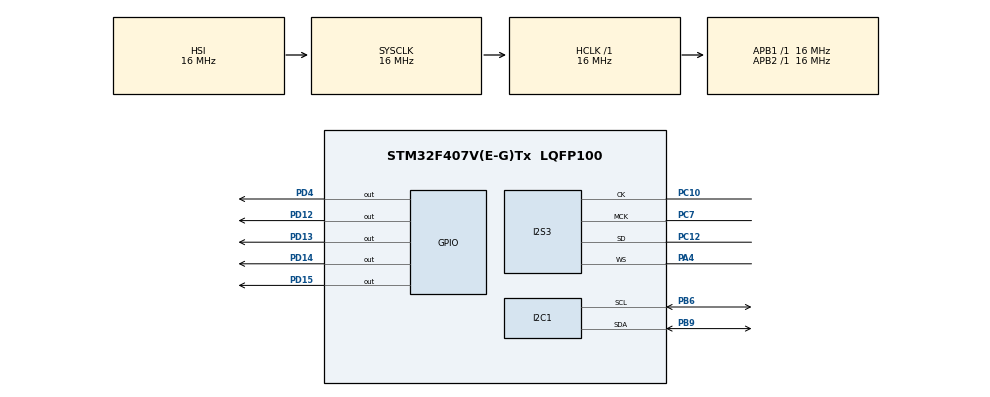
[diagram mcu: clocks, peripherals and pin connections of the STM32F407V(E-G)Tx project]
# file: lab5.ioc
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Dma.Request0=SPI3_TX
Dma.SPI3_TX.0.Direction=DMA_MEMORY_TO_PERIPH
Dma.SPI3_TX.0.FIFOMode=DMA_FIFOMODE_ENABLE
Dma.SPI3_TX.0.FIFOThreshold=DMA_FIFO_THRESHOLD_FULL
Dma.SPI3_TX.0.Instance=DMA1_Stream5
Dma.SPI3_TX.0.MemBurst=DMA_MBURST_SINGLE
Dma.SPI3_TX.0.MemDataAlignment=DMA_MDATAALIGN_HALFWORD
Dma.SPI3_TX.0.MemInc=DMA_MINC_ENABLE
Dma.SPI3_TX.0.Mode=DMA_CIRCULAR
Dma.SPI3_TX.0.PeriphBurst=DMA_PBURST_SINGLE
Dma.SPI3_TX.0.PeriphDataAlignment=DMA_PDATAALIGN_HALFWORD
Dma.SPI3_TX.0.PeriphInc=DMA_PINC_DISABLE
Dma.SPI3_TX.0.Priority=DMA_PRIORITY_LOW
I2S3.AudioFreq=I2S_AUDIOFREQ_48K
I2S3.ErrorAudioFreq=-2.34 %
I2S3.FullDuplexMode=I2S_FULLDUPLEXMODE_DISABLE
I2S3.Instance=SPI$Index
I2S3.RealAudioFreq=46.875 KHz
I2S3.VirtualMode=I2S_MODE_MASTER
Mcu.Family=STM32F4
Mcu.Name=STM32F407V(E-G)Tx
Mcu.Package=LQFP100
NVIC.DMA1_Stream5_IRQn=true\:0\:0\:false\:false\:true\:false\:true\:true
NVIC.PriorityGroup=NVIC_PRIORITYGROUP_4
PA4.Mode=Half_Duplex_Master
PA4.Signal=I2S3_WS
PB6.Mode=I2C
PB6.Signal=I2C1_SCL
PB9.Mode=I2C
PB9.Signal=I2C1_SDA
PC10.Mode=Half_Duplex_Master
PC10.Signal=I2S3_CK
PC12.Mode=Half_Duplex_Master
PC12.Signal=I2S3_SD
PC7.Mode=Master_Clock_Activated
PC7.Signal=I2S3_MCK
PD12.Signal=GPIO_Output
PD13.Signal=GPIO_Output
PD14.Signal=GPIO_Output
PD15.Signal=GPIO_Output
PD4.Signal=GPIO_Output
ProjectManager.HeapSize=0x200
ProjectManager.StackSize=0x400
ProjectManager.TargetToolchain=STM32CubeIDE
RCC.AHBFreq_Value=16000000
RCC.APB1Freq_Value=16000000
RCC.APB2Freq_Value=16000000
RCC.CortexFreq_Value=16000000
RCC.HSE_VALUE=25000000
RCC.HSI_VALUE=16000000
RCC.LSE_VALUE=32768
RCC.SYSCLKFreq_VALUE=16000000
RCC.VCOOutputFreq_Value=192000000
board=custom

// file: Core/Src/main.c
/* USER CODE BEGIN Header */
/**
  ******************************************************************************
  * @file           : main.c
  * @brief          : Main program body
  ******************************************************************************
  * @attention
  *
  * Copyright (c) 2026 STMicroelectronics.
  * All rights reserved.
  *
  * This software is licensed under terms that can be found in the LICENSE file
  * in the root directory of this software component.
  * If no LICENSE file comes with this software, it is provided AS-IS.
  *
  ******************************************************************************
  */
/* USER CODE END Header */
#include "main.h"

/* USER CODE BEGIN PTD */

typedef enum
{
    NOTE_0  = 0x00,
    NOTE_1  = 0x10,
    NOTE_2  = 0x20,
    NOTE_3  = 0x30,
    NOTE_4  = 0x40,
    NOTE_5  = 0x50,
    NOTE_6  = 0x60,
    NOTE_7  = 0x70,
    NOTE_8  = 0x80,
    NOTE_9  = 0x90,
    NOTE_10 = 0xA0,
    NOTE_11 = 0xB0,
    NOTE_12 = 0xC0,
    NOTE_13 = 0xD0,
    NOTE_14 = 0xE0,
    NOTE_15 = 0xF0,
    MAX_VALUE
} soundToneType;

/* USER CODE END PTD */

/* USER CODE BEGIN PD */

#define CS43L22_I2C_ADDRESS		0x94
#define I2C_TIMEOUT				10

/* USER CODE END PD */

/* USER CODE BEGIN PM */

int16_t dataI2S[100] = {0};

/* USER CODE END PM */

I2C_HandleTypeDef hi2c1;

I2S_HandleTypeDef hi2s3;
DMA_HandleTypeDef hdma_spi3_tx;

void SystemClock_Config(void);
static void MX_GPIO_Init(void);
static void MX_DMA_Init(void);
static void MX_I2C1_Init(void);
static void MX_I2S3_Init(void);

/* USER CODE BEGIN 0 */

void CS43L22_Init(void)
{
	// Enable chip
	HAL_GPIO_WritePin(GPIOD, GPIO_PIN_4, GPIO_PIN_SET);

	//
	// Initialization
	//
	uint8_t TxBuffer[2];

	TxBuffer[0] = 0x0D;
	TxBuffer[1] = 0x01;
	HAL_I2C_Master_Transmit(&hi2c1, CS43L22_I2C_ADDRESS, (uint8_t*) &TxBuffer, 2, I2C_TIMEOUT);

	TxBuffer[0] = 0x00;
	TxBuffer[1] = 0x99;
	HAL_I2C_Master_Transmit(&hi2c1, CS43L22_I2C_ADDRESS, (uint8_t*) &TxBuffer, 2, I2C_TIMEOUT);

	TxBuffer[0] = 0x47;
	TxBuffer[1] = 0x80;
	HAL_I2C_Master_Transmit(&hi2c1, CS43L22_I2C_ADDRESS, (uint8_t*) &TxBuffer, 2, I2C_TIMEOUT);

	TxBuffer[0] = 0x32;
	TxBuffer[1] = 0xFF;
	HAL_I2C_Master_Transmit(&hi2c1, CS43L22_I2C_ADDRESS, (uint8_t*) &TxBuffer, 2, I2C_TIMEOUT);

	TxBuffer[0] = 0x32;
	TxBuffer[1] = 0x7F;
	HAL_I2C_Master_Transmit(&hi2c1, CS43L22_I2C_ADDRESS, (uint8_t*) &TxBuffer, 2, I2C_TIMEOUT);

	TxBuffer[0] = 0x00;
	TxBuffer[1] = 0x00;
	HAL_I2C_Master_Transmit(&hi2c1, CS43L22_I2C_ADDRESS, (uint8_t*) &TxBuffer, 2, I2C_TIMEOUT);

	TxBuffer[0] = 0x04;
	TxBuffer[1] = 0xAF;
	HAL_I2C_Master_Transmit(&hi2c1, CS43L22_I2C_ADDRESS, (uint8_t*) &TxBuffer, 2, I2C_TIMEOUT);

	TxBuffer[0] = 0x0D;
	TxBuffer[1] = 0x70;
	HAL_I2C_Master_Transmit(&hi2c1, CS43L22_I2C_ADDRESS, (uint8_t*) &TxBuffer, 2, I2C_TIMEOUT);

	TxBuffer[0] = 0x05;
	TxBuffer[1] = 0x81;
	HAL_I2C_Master_Transmit(&hi2c1, CS43L22_I2C_ADDRESS, (uint8_t*) &TxBuffer, 2, I2C_TIMEOUT);

	TxBuffer[0] = 0x06;
	TxBuffer[1] = 0x07;
	HAL_I2C_Master_Transmit(&hi2c1, CS43L22_I2C_ADDRESS, (uint8_t*) &TxBuffer, 2, I2C_TIMEOUT);

	TxBuffer[0] = 0x0A;
	TxBuffer[1] = 0x00;
	HAL_I2C_Master_Transmit(&hi2c1, CS43L22_I2C_ADDRESS, (uint8_t*) &TxBuffer, 2, I2C_TIMEOUT);

	TxBuffer[0] = 0x27;
	TxBuffer[1] = 0x00;
	HAL_I2C_Master_Transmit(&hi2c1, CS43L22_I2C_ADDRESS, (uint8_t*) &TxBuffer, 2, I2C_TIMEOUT);

	TxBuffer[0] = 0x1A;
	TxBuffer[1] = 0x0A;
	HAL_I2C_Master_Transmit(&hi2c1, CS43L22_I2C_ADDRESS, (uint8_t*) &TxBuffer, 2, I2C_TIMEOUT);

	TxBuffer[0] = 0x1B;
	TxBuffer[1] = 0x0A;
	HAL_I2C_Master_Transmit(&hi2c1, CS43L22_I2C_ADDRESS, (uint8_t*) &TxBuffer, 2, I2C_TIMEOUT);

	TxBuffer[0] = 0x1F;
	TxBuffer[1] = 0x0F;
	HAL_I2C_Master_Transmit(&hi2c1, CS43L22_I2C_ADDRESS, (uint8_t*) &TxBuffer, 2, I2C_TIMEOUT);

	TxBuffer[0] = 0x02;
	TxBuffer[1] = 0x9E;
	HAL_I2C_Master_Transmit(&hi2c1, CS43L22_I2C_ADDRESS, (uint8_t*) &TxBuffer, 2, I2C_TIMEOUT);
}

void CS43L22_Beep(soundToneType pitch, uint32_t duration_ms, uint16_t led_pin)
{
    uint8_t TxBuffer[2];

    HAL_GPIO_WritePin(GPIOD, led_pin, GPIO_PIN_SET);

    // Set volume and off time
    TxBuffer[0] = 0x1D;        // Register address
    TxBuffer[1] = 0x00;        // Value (volume and off time)
    HAL_I2C_Master_Transmit(&hi2c1, CS43L22_I2C_ADDRESS, (uint8_t*) &TxBuffer, 2, I2C_TIMEOUT);

    // Set sound frequency (передаємо значення прямо з нашого enum)
    TxBuffer[0] = 0x1C;
    TxBuffer[1] = (uint8_t)pitch;
    HAL_I2C_Master_Transmit(&hi2c1, CS43L22_I2C_ADDRESS, (uint8_t*) &TxBuffer, 2, I2C_TIMEOUT);

    // Enable continuous mode (SOUND STARTED)
    TxBuffer[0] = 0x1E;
    TxBuffer[1] = 0xC0;
    HAL_I2C_Master_Transmit(&hi2c1, CS43L22_I2C_ADDRESS, (uint8_t*) &TxBuffer, 2, I2C_TIMEOUT);

    // Playing...
    HAL_Delay(duration_ms);

    // Disable continuous mode (SOUND STOPPED)
    TxBuffer[0] = 0x1E;
    TxBuffer[1] = 0x00;
    HAL_I2C_Master_Transmit(&hi2c1, CS43L22_I2C_ADDRESS, (uint8_t*) &TxBuffer, 2, I2C_TIMEOUT);

    // СВІТЛОМУЗИКА: Вимикаємо світлодіод після завершення ноти
    HAL_GPIO_WritePin(GPIOD, led_pin, GPIO_PIN_RESET);
}

typedef struct {
    soundToneType note;      // Нота
    uint32_t duration_ms;    // Тривалість
    uint16_t led_pin;        // Який діод світити
} MelodyStep;

MelodyStep my_melody[] = {
		// Перша частина
		    {NOTE_6, 300, GPIO_PIN_12}, {NOTE_6, 300, GPIO_PIN_13},
		    {NOTE_7, 300, GPIO_PIN_14}, {NOTE_9, 300, GPIO_PIN_15},
		    {NOTE_9, 300, GPIO_PIN_15}, {NOTE_7, 300, GPIO_PIN_14},
		    {NOTE_6, 300, GPIO_PIN_13}, {NOTE_4, 300, GPIO_PIN_12},
		    {NOTE_2, 300, GPIO_PIN_12}, {NOTE_2, 300, GPIO_PIN_13},
		    {NOTE_4, 300, GPIO_PIN_14}, {NOTE_6, 300, GPIO_PIN_15},
		    {NOTE_6, 450, GPIO_PIN_14}, {NOTE_4, 150, GPIO_PIN_13},
		    {NOTE_4, 600, GPIO_PIN_12}, // Кінець першого рядка

		    // Пауза між рядками (тиша, діоди вимкнені)
		    {MAX_VALUE, 50, 0x0000},

		    // Друга частина
		    {NOTE_6, 300, GPIO_PIN_12}, {NOTE_6, 300, GPIO_PIN_13},
		    {NOTE_7, 300, GPIO_PIN_14}, {NOTE_9, 300, GPIO_PIN_15},
		    {NOTE_9, 300, GPIO_PIN_15}, {NOTE_7, 300, GPIO_PIN_14},
		    {NOTE_6, 300, GPIO_PIN_13}, {NOTE_4, 300, GPIO_PIN_12},
		    {NOTE_2, 300, GPIO_PIN_12}, {NOTE_2, 300, GPIO_PIN_13},
		    {NOTE_4, 300, GPIO_PIN_14}, {NOTE_6, 300, GPIO_PIN_15},
		    {NOTE_4, 450, GPIO_PIN_14}, {NOTE_2, 150, GPIO_PIN_13},

		    // Фінальний акорд (довга нота + світяться всі діоди!)
		    {NOTE_2, 800, GPIO_PIN_12 | GPIO_PIN_13 | GPIO_PIN_14 | GPIO_PIN_15}
};

#define MELODY_LENGTH (sizeof(my_melody) / sizeof(my_melody[0]))

/* USER CODE END 0 */

int main(void)
{

  /* MCU Configuration--------------------------------------------------------*/

  /* Reset of all peripherals, Initializes the Flash interface and the Systick. */
  HAL_Init();

  /* Configure the system clock */
  SystemClock_Config();

  /* Initialize all configured peripherals */
  MX_GPIO_Init();
  MX_DMA_Init();
  MX_I2C1_Init();
  MX_I2S3_Init();
  /* USER CODE BEGIN 2 */

  HAL_I2S_Transmit_DMA(&hi2s3, (uint16_t *)dataI2S, 100);

  // Init DAC
  CS43L22_Init();

  // Transmit empty data
  //HAL_I2S_Transmit_DMA(&hi2s3, (uint16_t *)dataI2S, 100);

  // Змінна-лічильник для обмеження кількості програвань
  uint8_t play_count = 0;

  /* USER CODE END 2 */

  /* Infinite loop */
  /* USER CODE BEGIN WHILE */
  while (1)
  {
	  // Перевірка: грати тільки якщо лічильник менше 3
	  if (play_count < 3)
	  {
		  for (int i = 0; i < MELODY_LENGTH; i++)
		  {
			  CS43L22_Beep(my_melody[i].note, my_melody[i].duration_ms, my_melody[i].led_pin);
			  HAL_Delay(50); // Коротка пауза для розділення нот
		  }

		  // ПРОГРАВАННЯ МЕЛОДІЇ ЗІ СВІТЛОДІОДАМИ
		  //CS43L22_Beep(NOTE_0, 300, GPIO_PIN_12); // Зелений
		  //HAL_Delay(50); // Коротка пауза, щоб ноти не зливалися

		  //CS43L22_Beep(NOTE_3, 300, GPIO_PIN_13); // Помаранчевий
		  //HAL_Delay(50);

		  //CS43L22_Beep(NOTE_7, 300, GPIO_PIN_14); // Червоний
		  //HAL_Delay(50);

		  //CS43L22_Beep(NOTE_12, 600, GPIO_PIN_15); // Синій (довга нота)
		  //HAL_Delay(50);

		  //CS43L22_Beep(NOTE_7, 300, GPIO_PIN_14); // Червоний
		  //HAL_Delay(50);

		  // Фінальний акорд: світяться всі 4 діоди!
		  //CS43L22_Beep(NOTE_0, 800, GPIO_PIN_12 | GPIO_PIN_13 | GPIO_PIN_14 | GPIO_PIN_15);

		  HAL_Delay(1000); // Пауза 1 секунда між повторами мелодії
		  play_count++;    // Збільшуємо лічильник на 1
	  }
	  else
	  {
		  // Коли play_count стане 3, програма буде просто крутитися тут,
		  // і мелодія більше не гратиме.
	  }

    /* USER CODE END WHILE */

  }
}

void SystemClock_Config(void)
{
  RCC_OscInitTypeDef RCC_OscInitStruct = {0};
  RCC_ClkInitTypeDef RCC_ClkInitStruct = {0};

  /** Macro to configure the PLL multiplication factor
  */
  __HAL_RCC_PLL_PLLM_CONFIG(16);

  /** Macro to configure the PLL clock source
  */
  __HAL_RCC_PLL_PLLSOURCE_CONFIG(RCC_PLLSOURCE_HSI);

  /** Configure the main internal regulator output voltage
  */
  __HAL_RCC_PWR_CLK_ENABLE();
  __HAL_PWR_VOLTAGESCALING_CONFIG(PWR_REGULATOR_VOLTAGE_SCALE1);

  /** Initializes the RCC Oscillators according to the specified parameters
  * in the RCC_OscInitTypeDef structure.
  */
  RCC_OscInitStruct.OscillatorType = RCC_OSCILLATORTYPE_HSI;
  RCC_OscInitStruct.HSIState = RCC_HSI_ON;
  RCC_OscInitStruct.HSICalibrationValue = RCC_HSICALIBRATION_DEFAULT;
  RCC_OscInitStruct.PLL.PLLState = RCC_PLL_NONE;
  RCC_OscInitStruct.PLL.PLLSource = RCC_PLLSOURCE_HSI;
  if (HAL_RCC_OscConfig(&RCC_OscInitStruct) != HAL_OK)
  {
    Error_Handler();
  }

  /** Initializes the CPU, AHB and APB buses clocks
  */
  RCC_ClkInitStruct.ClockType = RCC_CLOCKTYPE_HCLK|RCC_CLOCKTYPE_SYSCLK
                              |RCC_CLOCKTYPE_PCLK1|RCC_CLOCKTYPE_PCLK2;
  RCC_ClkInitStruct.SYSCLKSource = RCC_SYSCLKSOURCE_HSI;
  RCC_ClkInitStruct.AHBCLKDivider = RCC_SYSCLK_DIV1;
  RCC_ClkInitStruct.APB1CLKDivider = RCC_HCLK_DIV1;
  RCC_ClkInitStruct.APB2CLKDivider = RCC_HCLK_DIV1;

  if (HAL_RCC_ClockConfig(&RCC_ClkInitStruct, FLASH_LATENCY_0) != HAL_OK)
  {
    Error_Handler();
  }
}

static void MX_I2C1_Init(void)
{

  hi2c1.Instance = I2C1;
  hi2c1.Init.ClockSpeed = 100000;
  hi2c1.Init.DutyCycle = I2C_DUTYCYCLE_2;
  hi2c1.Init.OwnAddress1 = 0;
  hi2c1.Init.AddressingMode = I2C_ADDRESSINGMODE_7BIT;
  hi2c1.Init.DualAddressMode = I2C_DUALADDRESS_DISABLE;
  hi2c1.Init.OwnAddress2 = 0;
  hi2c1.Init.GeneralCallMode = I2C_GENERALCALL_DISABLE;
  hi2c1.Init.NoStretchMode = I2C_NOSTRETCH_DISABLE;
  if (HAL_I2C_Init(&hi2c1) != HAL_OK)
  {
    Error_Handler();
  }

}

static void MX_I2S3_Init(void)
{

  hi2s3.Instance = SPI3;
  hi2s3.Init.Mode = I2S_MODE_MASTER_TX;
  hi2s3.Init.Standard = I2S_STANDARD_PHILIPS;
  hi2s3.Init.DataFormat = I2S_DATAFORMAT_16B;
  hi2s3.Init.MCLKOutput = I2S_MCLKOUTPUT_ENABLE;
  hi2s3.Init.AudioFreq = I2S_AUDIOFREQ_48K;
  hi2s3.Init.CPOL = I2S_CPOL_LOW;
  hi2s3.Init.ClockSource = I2S_CLOCK_PLL;
  hi2s3.Init.FullDuplexMode = I2S_FULLDUPLEXMODE_DISABLE;
  if (HAL_I2S_Init(&hi2s3) != HAL_OK)
  {
    Error_Handler();
  }

}

static void MX_DMA_Init(void)
{

  /* DMA controller clock enable */
  __HAL_RCC_DMA1_CLK_ENABLE();

  /* DMA interrupt init */
  /* DMA1_Stream5_IRQn interrupt configuration */
  HAL_NVIC_SetPriority(DMA1_Stream5_IRQn, 0, 0);
  HAL_NVIC_EnableIRQ(DMA1_Stream5_IRQn);

}

static void MX_GPIO_Init(void)
{
  GPIO_InitTypeDef GPIO_InitStruct = {0};

  /* GPIO Ports Clock Enable */
  __HAL_RCC_GPIOA_CLK_ENABLE();
  __HAL_RCC_GPIOD_CLK_ENABLE();
  __HAL_RCC_GPIOC_CLK_ENABLE();
  __HAL_RCC_GPIOB_CLK_ENABLE();

  /*Configure GPIO pin Output Level */
  HAL_GPIO_WritePin(GPIOD, GPIO_PIN_12|GPIO_PIN_13|GPIO_PIN_14|GPIO_PIN_15
                          |GPIO_PIN_4, GPIO_PIN_RESET);

  /*Configure GPIO pins : PD12 PD13 PD14 PD15
                           PD4 */
  GPIO_InitStruct.Pin = GPIO_PIN_12|GPIO_PIN_13|GPIO_PIN_14|GPIO_PIN_15
                          |GPIO_PIN_4;
  GPIO_InitStruct.Mode = GPIO_MODE_OUTPUT_PP;
  GPIO_InitStruct.Pull = GPIO_NOPULL;
  GPIO_InitStruct.Speed = GPIO_SPEED_FREQ_LOW;
  HAL_GPIO_Init(GPIOD, &GPIO_InitStruct);

}

void Error_Handler(void)
{
  __disable_irq();
  while (1)
  {
  }
}
